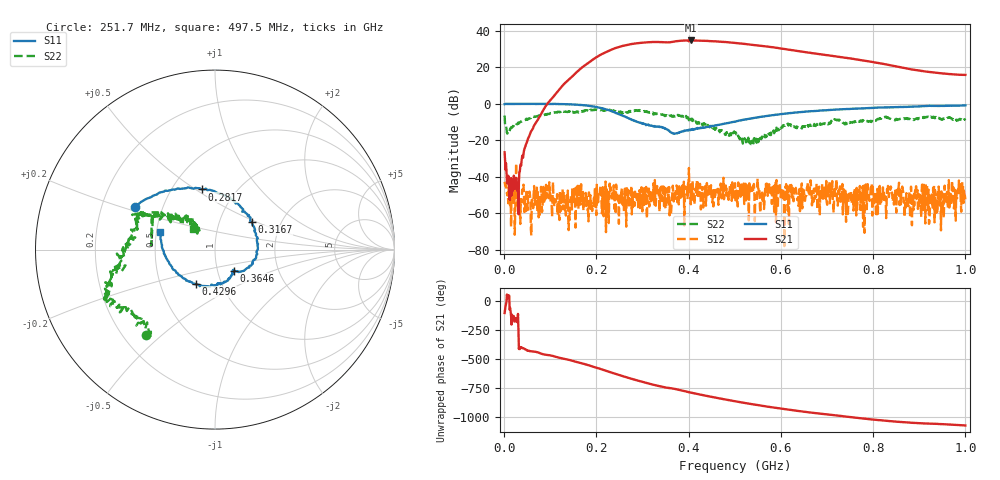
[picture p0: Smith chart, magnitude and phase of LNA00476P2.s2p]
! Created with skrf 1.9.0 (http://scikit-rf.org).
# Hz S RI R 50.0
!freq ReS11 ImS11 ReS21 ImS21 ReS12 ImS12 ReS22 ImS22
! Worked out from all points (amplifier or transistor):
!   1001 points, 1 MHz to 1 GHz, reference 50 ohm
!   highest |S21| = 34.8 dB at 404.6 MHz (marker M1)
!   |S21| within 3 dB of that: 256.9 MHz to 559.7 MHz (302.8 MHz wide, 74.2 % of centre)
!   unconditionally stable (mu >= 1): 207.2 MHz to 219.1 MHz; 243.4 MHz to 400.3 MHz; 400.8 MHz to end of sweep (the widest 3 of 53)
!   at 166.8 MHz: K = 0.45, MSG = 31.8 dB, |S12| = -44.1 dB
!   at 500.5 MHz: K = 1.59, MAG = 34.0 dB, |S12| = -43.5 dB
!   at 1 GHz: K = 5.27, MAG = 24.4 dB, |S12| = -53.3 dB
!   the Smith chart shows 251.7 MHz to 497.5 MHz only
!   S11 on the Smith chart (normalised r, x): 251.7 MHz: 0.35, +0.22; 281.7 MHz: 0.70, +0.53; 316.7 MHz: 1.43, +0.47; 364.6 MHz: 1.20, -0.29; 429.6 MHz: 0.75, -0.30; 497.5 MHz: 0.52, +0.11
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1000000  0.9818 -0.00213  -0.0139 -0.0449  -0.00448 0.00569  0.359 0.3191
1.08892e8  0.5256 -0.8464  -0.8038 -1.498  -0.00151 -8.4e-05  0.427 -0.3811
1.67833e8  -0.2283 -0.9029  -9.745 -0.5304  0.000451 0.00219  0.0425 -0.6332
2.12788e8  -0.6782 -0.3366  -14.84 18.34  -0.000534 -0.0013  -0.2231 -0.6421
2.31769e8  -0.637 -0.0203  -7.557 29.55  -0.000562 -0.00367  -0.2924 -0.5714
2.51749e8  -0.4457 0.2368  6.978 36.85  -0.00138 -0.00306  -0.383 -0.4786
2.81719e8  -0.0741 0.335  32.89 30.86  -0.000843 -0.00173  -0.5682 -0.2796
3.16684e8  0.2046 0.1526  49.23 4.958  -0.00181 0.00179  -0.5793 -0.1373
3.34666e8  0.2388 0.00277  49.04 -10.33  -0.00361 0.00195  -0.5144 -0.0355
3.64636e8  0.1064 -0.1167  41.91 -27.95  -0.00375 0.00134  -0.4309 0.1159
3.81619e8  0.0975 -0.1375  36.44 -39.97  -0.00163 0.00439  -0.4345 0.1858
4.04596e8  0.0203 -0.1915  20.37 -51.32  0.00052 0.00167  -0.34 0.1825
4.29571e8  -0.1077 -0.1908  0.8459 -54.04  0.00354 0.0024  -0.2255 0.1782
4.64536e8  -0.254 -0.0793  -23.21 -46.33  0.00114 0.00125  -0.1385 0.1408
4.97503e8  -0.3065 0.0986  -36.69 -30.44  0.00177 0.00202  -0.1246 0.1146
5.005e8  -0.3022 0.1163  -37.73 -28.79  0.000743 -0.00662  -0.1397 0.087
5.39461e8  -0.2447 0.3234  -41.11 -8.02  0.000616 -0.00468  -0.0872 -0.0406
5.85415e8  -0.0594 0.4927  -33.83 10.62  0.000503 0.000964  -0.1471 -0.0532
6.67333e8  0.3318 0.5359  -12.11 21.5  0.00137 -0.000908  -0.2718 -0.0135
7.53247e8  0.6322 0.3734  2.835 17.21  -0.000866 -0.0016  -0.3024 0.0668
8.34166e8  0.7922 0.1432  7.832 8.705  -0.00125 -0.00247  -0.3876 0.1158
1e9  0.8214 -0.3904  6.148 1.1  -0.000157 0.00216  -0.1162 0.3393
